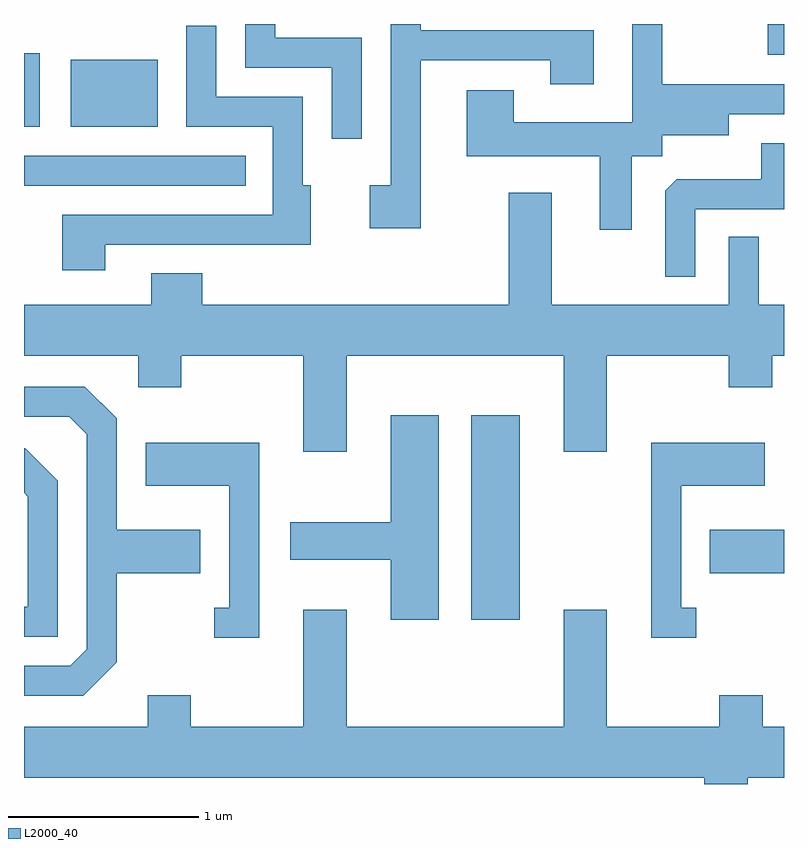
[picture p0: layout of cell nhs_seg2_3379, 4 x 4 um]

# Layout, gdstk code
import gdstk
lib = gdstk.Library(unit=1e-6, precision=1e-09)
def R(c, l, rs):  # rectangles x0, y0, x1, y1
    for r in rs: c.add(gdstk.rectangle(r[:2], r[2:], *l))
def P(c, l, *ps):  # polygons
    for p in ps: c.add(gdstk.Polygon(p, *l))
L2000_40 = (2000, 40)

nhs_seg2_3379 = lib.new_cell('nhs_seg2_3379')
R(nhs_seg2_3379, L2000_40, [(285.966,1084.666,286.219,1085.744), (287.221,1084.911,287.611,1085.139), (283.611,1086.951,284.778,1087.109), (283.611,1087.261,283.694,1087.649), (283.856,1087.261,284.314,1087.614), (287.526,1087.641,287.611,1087.802)])
P(nhs_seg2_3379, L2000_40, [(286.809,1087.106),(286.969,1087.106),(286.969,1087.216),(287.319,1087.216),(287.319,1087.326),(287.611,1087.326),(287.611,1087.484),(286.969,1087.484),(286.969,1087.802),(286.811,1087.802),(286.811,1087.284),(286.189,1087.284),(286.189,1087.454),(285.941,1087.454),(285.941,1087.106),(286.641,1087.106),(286.641,1086.718),(286.809,1086.718)],
  [(285.699,1087.611),(286.381,1087.611),(286.381,1087.486),(286.609,1087.486),(286.609,1087.769),(285.699,1087.769),(285.699,1087.802),(285.541,1087.802),(285.541,1086.954),(285.431,1086.954),(285.431,1086.726),(285.699,1086.726)],
  [(285.389,1087.729),(284.934,1087.729),(284.934,1087.802),(284.776,1087.802),(284.776,1087.571),(285.231,1087.571),(285.231,1087.198),(285.389,1087.198)],
  [(283.973,1087.802),(283.611,1087.802),(283.611,1087.801),(283.972,1087.801)],
  [(284.039,1086.641),(285.119,1086.641),(285.119,1086.954),(285.079,1086.954),(285.079,1087.419),(284.624,1087.419),(284.624,1087.793),(284.466,1087.793),(284.466,1087.261),(284.921,1087.261),(284.921,1086.799),(283.811,1086.799),(283.811,1086.506),(284.039,1086.506)],
  [(287.144,1086.826),(287.611,1086.826),(287.611,1087.174),(287.491,1087.174),(287.491,1086.984),(287.047,1086.984),(286.986,1086.924),(286.986,1086.473),(287.144,1086.473)],
  [(285.309,1086.056),(286.451,1086.056),(286.451,1085.551),(286.679,1085.551),(286.679,1086.056),(287.321,1086.056),(287.321,1085.891),(287.549,1085.891),(287.549,1086.056),(287.611,1086.056),(287.611,1086.324),(287.479,1086.324),(287.479,1086.683),(287.321,1086.683),(287.321,1086.324),(286.389,1086.324),(286.389,1086.914),(286.161,1086.914),(286.161,1086.324),(284.549,1086.324),(284.549,1086.489),(284.281,1086.489),(284.281,1086.324),(283.611,1086.324),(283.611,1086.056),(284.211,1086.056),(284.211,1085.891),(284.439,1085.891),(284.439,1086.056),(285.081,1086.056),(285.081,1085.551),(285.309,1085.551)],
  [(284.013,1084.357),(284.099,1084.444),(284.099,1084.911),(284.539,1084.911),(284.539,1085.139),(284.099,1085.139),(284.099,1085.727),(283.932,1085.894),(283.611,1085.894),(283.611,1085.736),(283.849,1085.736),(283.941,1085.644),(283.941,1084.512),(283.854,1084.424),(283.611,1084.424),(283.611,1084.266),(283.922,1084.266)],
  [(285.794,1085.744),(285.541,1085.744),(285.541,1085.179),(285.011,1085.179),(285.011,1084.981),(285.541,1084.981),(285.541,1084.666),(285.794,1084.666)],
  [(287.148,1084.729),(287.069,1084.729),(287.069,1085.371),(287.509,1085.371),(287.509,1085.599),(286.911,1085.599),(286.911,1084.571),(287.148,1084.571)],
  [(284.849,1085.599),(284.251,1085.599),(284.251,1085.371),(284.691,1085.371),(284.691,1084.729),(284.613,1084.729),(284.613,1084.571),(284.849,1084.571)],
  [(283.789,1085.397),(283.617,1085.569),(283.611,1085.569),(283.611,1085.334),(283.631,1085.314),(283.631,1084.734),(283.611,1084.734),(283.611,1084.576),(283.789,1084.576)],
  [(287.419,1083.836),(287.611,1083.836),(287.611,1084.104),(287.499,1084.104),(287.499,1084.269),(287.271,1084.269),(287.271,1084.104),(286.679,1084.104),(286.679,1084.719),(286.451,1084.719),(286.451,1084.104),(285.309,1084.104),(285.309,1084.719),(285.081,1084.719),(285.081,1084.104),(284.489,1084.104),(284.489,1084.269),(284.261,1084.269),(284.261,1084.104),(283.611,1084.104),(283.611,1083.836),(287.191,1083.836),(287.191,1083.802),(287.419,1083.802)])

lib.write_gds('nhs_seg2_3379.gds')
